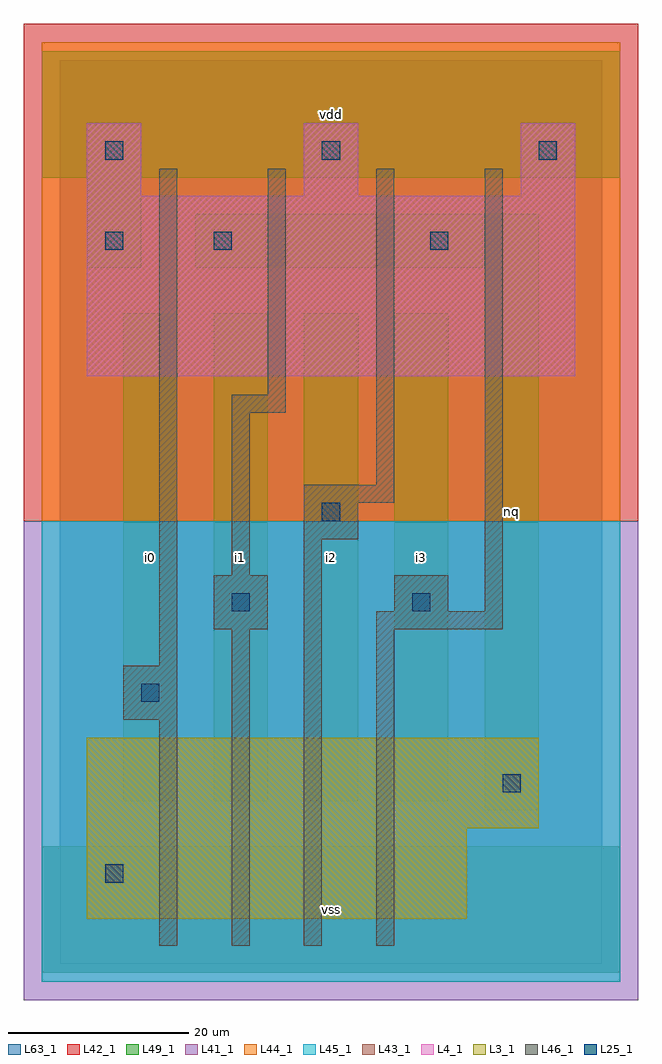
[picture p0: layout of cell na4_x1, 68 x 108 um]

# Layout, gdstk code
import gdstk
lib = gdstk.Library(unit=1e-6, precision=1e-09)
def R(c, l, rs):  # rectangles x0, y0, x1, y1
    for r in rs: c.add(gdstk.rectangle(r[:2], r[2:], *l))
def A(c, l, x, y, w, h, nx, ny, dx, dy):  # array of equal rectangles
    R(c, l, [(x+i*dx, y+j*dy, x+i*dx+w, y+j*dy+h) for i in range(nx) for j in range(ny)])
L3_1 = (3, 1)
L4_1 = (4, 1)
L25_1 = (25, 1)
L41_1 = (41, 1)
L42_1 = (42, 1)
L43_1 = (43, 1)
L44_1 = (44, 1)
L45_1 = (45, 1)
L46_1 = (46, 1)
L49_1 = (49, 1)
L63_1 = (63, 1)

na4_x1 = lib.new_cell('na4_x1')
R(na4_x1, L3_1, [(3,5,45,15), (3,15,53,25)])
A(na4_x1, L4_1, 3, 85, 6, 8, 3, 1, 24, 0)
R(na4_x1, L4_1, [(3,65,57,85)])
A(na4_x1, L25_1, 5, 89, 2, 2, 3, 1, 24, 0)
R(na4_x1, L25_1, [(5,9,7,11), (49,19,51,21), (9,29,11,31), (19,39,21,41), (39,39,41,41), (29,49,31,51), (5,79,7,81), (17,79,19,81), (41,79,43,81)])
R(na4_x1, L41_1, [(-4,-4,64,49)])
R(na4_x1, L42_1, [(-4,49,64,104)])
A(na4_x1, L43_1, 3, 85, 6, 8, 3, 1, 24, 0)
R(na4_x1, L43_1, [(3,5,45,15), (3,15,53,25), (3,65,57,85)])
R(na4_x1, L44_1, [(-2,49,62,102)])
R(na4_x1, L45_1, [(-2,-2,62,49)])
R(na4_x1, L46_1, [(11,2,13,27), (19,2,21,37), (27,2,29,47), (35,2,37,37), (7,27,13,33), (11,33,13,88), (17,37,23,43), (35,37,49,39), (37,39,43,43), (47,39,49,88), (19,43,21,61), (27,47,33,51), (27,51,37,53), (35,53,37,88), (19,61,25,63), (23,63,25,88)])
A(na4_x1, L49_1, 7, 18, 6, 54, 4, 1, 10, 0)
R(na4_x1, L49_1, [(-2,-1,62,13), (47,17,53,77), (3,77,9,87), (15,77,53,83), (-2,87,62,101)])
R(na4_x1, L63_1, [(0,0,60,100)])
na4_x1.add(gdstk.Label('i0', (10,45), layer=49, texttype=1))
na4_x1.add(gdstk.Label('i0', (10,45), layer=49, texttype=1))
na4_x1.add(gdstk.Label('i1', (20,45), layer=49, texttype=1))
na4_x1.add(gdstk.Label('i1', (20,45), layer=49, texttype=1))
na4_x1.add(gdstk.Label('vss', (30,6), layer=49, texttype=1))
na4_x1.add(gdstk.Label('vss', (30,6), layer=49, texttype=1))
na4_x1.add(gdstk.Label('i2', (30,45), layer=49, texttype=1))
na4_x1.add(gdstk.Label('i2', (30,45), layer=49, texttype=1))
na4_x1.add(gdstk.Label('i3', (40,45), layer=49, texttype=1))
na4_x1.add(gdstk.Label('i3', (40,45), layer=49, texttype=1))
na4_x1.add(gdstk.Label('vdd', (30,94), layer=49, texttype=1))
na4_x1.add(gdstk.Label('vdd', (30,94), layer=49, texttype=1))
na4_x1.add(gdstk.Label('nq', (50,50), layer=49, texttype=1))
na4_x1.add(gdstk.Label('nq', (50,50), layer=49, texttype=1))

lib.write_gds('na4_x1.gds')
